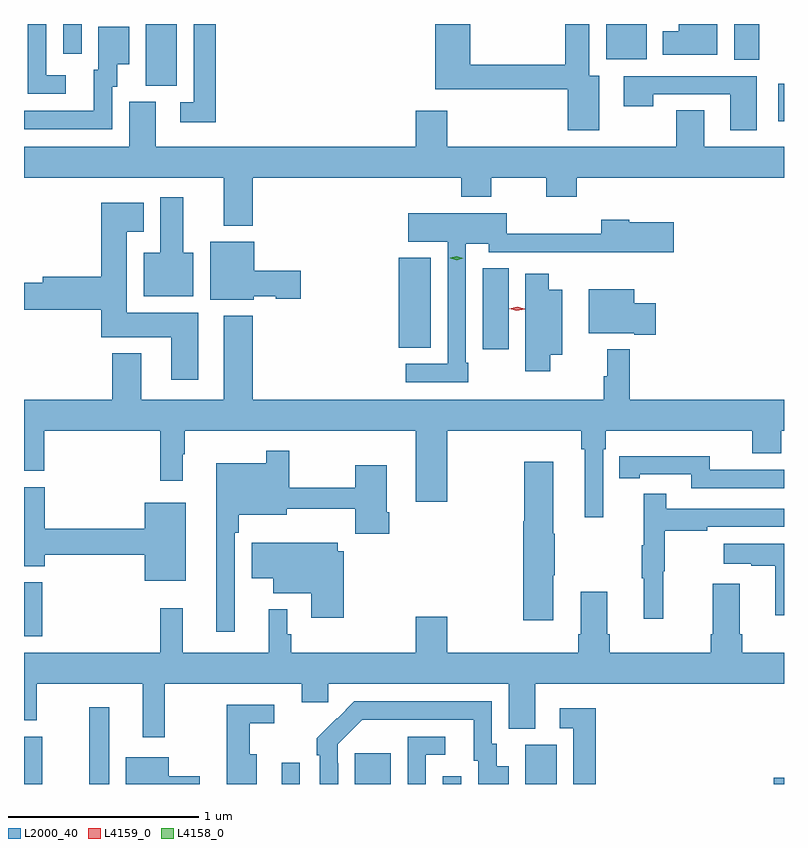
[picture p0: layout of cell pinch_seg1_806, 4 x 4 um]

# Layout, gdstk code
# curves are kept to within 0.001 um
import gdstk
lib = gdstk.Library(unit=1e-6, precision=1e-09)
def R(c, l, rs):  # rectangles x0, y0, x1, y1
    for r in rs: c.add(gdstk.rectangle(r[:2], r[2:], *l))
def P(c, l, *ps):  # polygons
    for p in ps: c.add(gdstk.Polygon(p, *l))
L2000_40 = (2000, 40)
L4158_0 = (4158, 0)
L4159_0 = (4159, 0)

pinch_seg1_806 = lib.new_cell('pinch_seg1_806')
R(pinch_seg1_806, L2000_40, [(486.621,563.193,486.718,563.443), (486.965,563.193,487.069,563.596), (487.977,563.193,488.073,563.305), (488.363,563.193,488.551,563.356), (488.826,563.193,488.922,563.233), (489.26,563.193,489.424,563.4), (490.566,563.193,490.621,563.225), (486.621,563.97,486.716,564.255), (489.035,565.482,489.172,565.907), (488.594,565.489,488.761,565.963), (490.592,566.681,490.621,566.878), (487.262,566.869,487.426,567.193), (490.358,567.004,490.492,567.193), (489.686,567.008,489.898,567.193), (486.828,567.036,486.924,567.193)])
P(pinch_seg1_806, L2000_40, [(486.841,566.922),(486.738,566.922),(486.738,567.193),(486.642,567.193),(486.642,566.826),(486.841,566.826)],
  [(487.631,567.193),(487.515,567.193),(487.515,566.781),(487.443,566.781),(487.443,566.676),(487.631,566.676)],
  [(489.649,566.92),(489.595,566.92),(489.595,567.193),(489.47,567.193),(489.47,566.978),(488.969,566.978),(488.969,567.193),(488.786,567.193),(488.786,566.85),(489.482,566.85),(489.482,566.634),(489.649,566.634)],
  [(490.27,567.193),(490.067,567.193),(490.067,567.154),(489.983,567.154),(489.983,567.032),(490.27,567.032)],
  [(487.086,566.862),(487.111,566.862),(487.111,566.981),(487.174,566.981),(487.174,567.178),(487.013,567.178),(487.013,566.952),(486.989,566.952),(486.989,566.736),(486.621,566.736),(486.621,566.64),(487.086,566.64)],
  [(490.477,566.919),(489.777,566.919),(489.777,566.76),(489.933,566.76),(489.933,566.823),(490.337,566.823),(490.337,566.634),(490.477,566.634)],
  [(487.826,566.384),(488.921,566.384),(488.921,566.285),(489.081,566.285),(489.081,566.384),(489.37,566.384),(489.37,566.285),(489.53,566.285),(489.53,566.384),(490.621,566.384),(490.621,566.548),(490.201,566.548),(490.201,566.738),(490.054,566.738),(490.054,566.548),(488.848,566.548),(488.848,566.737),(488.684,566.737),(488.684,566.548),(487.315,566.548),(487.315,566.784),(487.175,566.784),(487.175,566.548),(486.621,566.548),(486.621,566.384),(487.673,566.384),(487.673,566.132),(487.826,566.132)],
  [(487.513,565.99),(487.459,565.99),(487.459,566.281),(487.337,566.281),(487.337,565.99),(487.25,565.99),(487.25,565.76),(487.513,565.76)],
  [(487.537,565.672),(487.162,565.672),(487.162,566.099),(487.252,566.099),(487.252,566.251),(487.028,566.251),(487.028,565.862),(486.719,565.862),(486.719,565.832),(486.621,565.832),(486.621,565.69),(487.028,565.69),(487.028,565.544),(487.397,565.544),(487.397,565.32),(487.537,565.32)],
  [(488.959,565.411),(488.946,565.411),(488.946,566.036),(489.066,566.036),(489.066,565.992),(489.575,565.992),(489.575,565.991),(490.042,565.991),(490.042,566.149),(489.807,566.149),(489.807,566.164),(489.659,566.164),(489.659,566.09),(489.162,566.09),(489.162,566.197),(488.643,566.197),(488.643,566.048),(488.85,566.048),(488.85,565.404),(488.631,565.404),(488.631,565.308),(488.959,565.308)],
  [(487.83,565.76),(487.947,565.76),(487.947,565.748),(488.077,565.748),(488.077,565.895),(487.834,565.895),(487.834,566.047),(487.601,566.047),(487.601,565.742),(487.83,565.742)],
  [(489.39,565.451),(489.454,565.451),(489.454,565.795),(489.382,565.795),(489.382,565.879),(489.26,565.879),(489.26,565.365),(489.39,565.365)],
  [(489.946,565.723),(489.832,565.723),(489.832,565.798),(489.593,565.798),(489.593,565.565),(489.833,565.565),(489.833,565.558),(489.946,565.558)],
  [(489.669,564.956),(489.683,564.956),(489.683,565.052),(490.454,565.052),(490.454,564.935),(490.607,564.935),(490.607,565.052),(490.621,565.052),(490.621,565.216),(489.809,565.216),(489.809,565.48),(489.691,565.48),(489.691,565.34),(489.673,565.34),(489.673,565.216),(487.826,565.216),(487.826,565.657),(487.673,565.657),(487.673,565.216),(487.237,565.216),(487.237,565.459),(487.085,565.459),(487.085,565.216),(486.621,565.216),(486.621,564.841),(486.728,564.841),(486.728,565.052),(487.339,565.052),(487.339,564.789),(487.456,564.789),(487.456,564.929),(487.468,564.929),(487.468,565.052),(488.684,565.052),(488.684,564.678),(488.848,564.678),(488.848,565.052),(489.553,565.052),(489.553,564.956),(489.572,564.956),(489.572,564.597),(489.669,564.597)],
  [(487.731,564.515),(487.751,564.515),(487.751,564.611),(488.005,564.611),(488.005,564.641),(488.365,564.641),(488.365,564.51),(488.543,564.51),(488.543,564.622),(488.53,564.622),(488.53,564.871),(488.365,564.871),(488.365,564.751),(488.017,564.751),(488.017,564.946),(487.896,564.946),(487.896,564.88),(487.634,564.88),(487.634,563.994),(487.731,563.994)],
  [(490.621,564.846),(490.23,564.846),(490.23,564.919),(489.862,564.919),(489.862,564.918),(489.754,564.918),(489.754,564.802),(489.862,564.802),(489.862,564.822),(490.134,564.822),(490.134,564.75),(490.621,564.75)],
  [(489.406,564.292),(489.414,564.292),(489.414,564.509),(489.406,564.509),(489.406,564.889),(489.253,564.889),(489.253,564.576),(489.248,564.576),(489.248,564.054),(489.406,564.054)],
  [(487.471,564.673),(487.256,564.673),(487.256,564.536),(486.731,564.536),(486.731,564.756),(486.621,564.756),(486.621,564.34),(486.731,564.34),(486.731,564.4),(487.256,564.4),(487.256,564.263),(487.471,564.263)],
  [(489.986,564.312),(489.994,564.312),(489.994,564.526),(490.217,564.526),(490.217,564.546),(490.621,564.546),(490.621,564.642),(490.001,564.642),(490.001,564.721),(489.884,564.721),(489.884,564.449),(489.873,564.449),(489.873,564.275),(489.884,564.275),(489.884,564.063),(489.986,564.063)],
  [(488.303,564.417),(488.272,564.417),(488.272,564.463),(487.82,564.463),(487.82,564.275),(487.934,564.275),(487.934,564.197),(488.132,564.197),(488.132,564.069),(488.303,564.069)],
  [(490.621,564.457),(490.305,564.457),(490.305,564.353),(490.448,564.353),(490.448,564.343),(490.574,564.343),(490.574,564.081),(490.621,564.081)],
  [(487.361,563.72),(488.084,563.72),(488.084,563.622),(488.223,563.622),(488.223,563.72),(489.173,563.72),(489.173,563.485),(489.313,563.485),(489.313,563.72),(490.621,563.72),(490.621,563.884),(490.4,563.884),(490.4,563.98),(490.387,563.98),(490.387,564.247),(490.247,564.247),(490.247,563.98),(490.235,563.98),(490.235,563.884),(489.704,563.884),(489.704,563.98),(489.691,563.98),(489.691,564.205),(489.551,564.205),(489.551,563.98),(489.539,563.98),(489.539,563.884),(488.848,563.884),(488.848,564.073),(488.684,564.073),(488.684,563.884),(488.027,563.884),(488.027,563.981),(488.007,563.981),(488.007,564.112),(487.91,564.112),(487.91,563.884),(487.457,563.884),(487.457,564.118),(487.339,564.118),(487.339,563.884),(486.621,563.884),(486.621,563.528),(486.688,563.528),(486.688,563.72),(487.247,563.72),(487.247,563.439),(487.361,563.439)],
  [(488.274,563.303),(488.271,563.303),(488.271,563.403),(488.4,563.532),(488.987,563.532),(488.987,563.316),(489.011,563.316),(489.011,563.193),(489.172,563.193),(489.172,563.287),(489.109,563.287),(489.109,563.406),(489.084,563.406),(489.084,563.628),(488.36,563.628),(488.163,563.433),(488.163,563.345),(488.178,563.345),(488.178,563.193),(488.274,563.193)],
  [(487.846,563.35),(487.81,563.35),(487.81,563.513),(487.939,563.513),(487.939,563.61),(487.689,563.61),(487.689,563.346),(487.688,563.346),(487.688,563.193),(487.846,563.193)],
  [(489.629,563.593),(489.441,563.593),(489.441,563.487),(489.513,563.487),(489.513,563.193),(489.629,563.193)],
  [(488.736,563.346),(488.839,563.346),(488.839,563.442),(488.64,563.442),(488.64,563.193),(488.736,563.193)],
  [(487.546,563.235),(487.384,563.235),(487.384,563.335),(487.157,563.335),(487.157,563.193),(487.546,563.193)])
P(pinch_seg1_806, L4158_0, [(488.899,565.95),(488.864,565.961),(488.864,565.961),(488.864,565.962),(488.899,565.97),(488.934,565.959),(488.934,565.959),(488.934,565.959)])
P(pinch_seg1_806, L4159_0, [(489.215,565.684),(489.175,565.695),(489.175,565.695),(489.175,565.695),(489.216,565.704),(489.256,565.694),(489.256,565.694),(489.256,565.693)])

lib.write_gds('pinch_seg1_806.gds')
